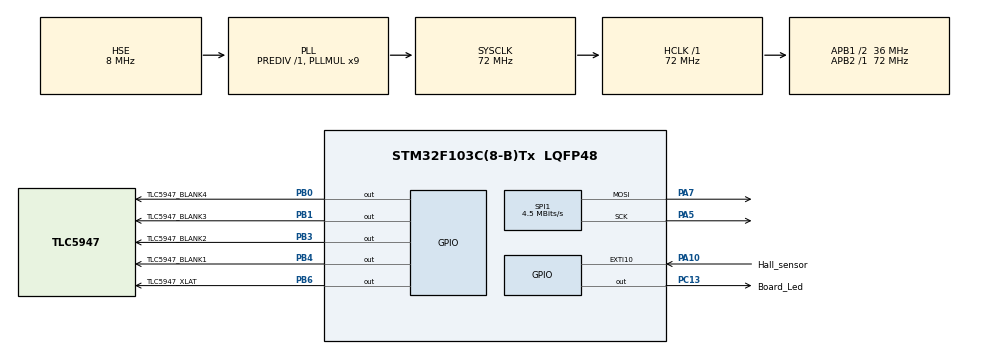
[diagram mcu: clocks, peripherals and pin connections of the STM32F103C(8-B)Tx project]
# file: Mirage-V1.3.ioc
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Mcu.Family=STM32F1
Mcu.Name=STM32F103C(8-B)Tx
Mcu.Package=LQFP48
NVIC.EXTI15_10_IRQn=true\:0\:0\:false\:false\:true\:true\:true
NVIC.PriorityGroup=NVIC_PRIORITYGROUP_4
NVIC.TIM4_IRQn=true\:0\:0\:false\:false\:true\:true\:true
PA10.GPIO_Label=Hall_sensor
PA10.Signal=GPXTI10
PA13.Mode=Serial_Wire
PA13.Signal=SYS_JTMS-SWDIO
PA14.Mode=Serial_Wire
PA14.Signal=SYS_JTCK-SWCLK
PA5.Mode=TX_Only_Simplex_Unidirect_Master
PA5.Signal=SPI1_SCK
PA7.Mode=TX_Only_Simplex_Unidirect_Master
PA7.Signal=SPI1_MOSI
PB0.GPIO_Label=TLC5947_BLANK4
PB0.Signal=GPIO_Output
PB1.GPIO_Label=TLC5947_BLANK3
PB1.Signal=GPIO_Output
PB3.GPIO_Label=TLC5947_BLANK2
PB3.Signal=GPIO_Output
PB4.GPIO_Label=TLC5947_BLANK1
PB4.Signal=GPIO_Output
PB6.GPIO_Label=TLC5947_XLAT
PB6.Signal=GPIO_Output
PC13-TAMPER-RTC.GPIO_Label=Board_Led
PC13-TAMPER-RTC.Signal=GPIO_Output
PC14-OSC32_IN.Mode=LSE-External-Oscillator
PC14-OSC32_IN.Signal=RCC_OSC32_IN
PC15-OSC32_OUT.Mode=LSE-External-Oscillator
PC15-OSC32_OUT.Signal=RCC_OSC32_OUT
PD0-OSC_IN.Mode=HSE-External-Oscillator
PD0-OSC_IN.Signal=RCC_OSC_IN
PD1-OSC_OUT.Mode=HSE-External-Oscillator
PD1-OSC_OUT.Signal=RCC_OSC_OUT
ProjectManager.HeapSize=0x200
ProjectManager.StackSize=0x400
ProjectManager.TargetToolchain=STM32CubeIDE
RCC.AHBFreq_Value=72000000
RCC.APB1CLKDivider=RCC_HCLK_DIV2
RCC.APB1Freq_Value=36000000
RCC.APB1TimFreq_Value=72000000
RCC.APB2Freq_Value=72000000
RCC.APB2TimFreq_Value=72000000
RCC.HCLKFreq_Value=72000000
RCC.PLLMUL=RCC_PLL_MUL9
RCC.PLLSourceVirtual=RCC_PLLSOURCE_HSE
RCC.SYSCLKFreq_VALUE=72000000
RCC.SYSCLKSource=RCC_SYSCLKSOURCE_PLLCLK
RCC.USBFreq_Value=72000000
SPI1.BaudRatePrescaler=SPI_BAUDRATEPRESCALER_16
SPI1.CalculateBaudRate=4.5 MBits/s
SPI1.Direction=SPI_DIRECTION_2LINES
SPI1.Mode=SPI_MODE_MASTER
SPI1.VirtualType=VM_MASTER
TIM4.AutoReloadPreload=TIM_AUTORELOAD_PRELOAD_ENABLE
TIM4.Period=1999
TIM4.Prescaler=35
VP_TIM4_VS_ClockSourceINT.Mode=Internal
board=custom

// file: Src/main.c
/* USER CODE BEGIN Header */
/**
  ******************************************************************************
  * @file           : main.c
  * @brief          : Main program body
  ******************************************************************************
  * @attention
  *
  * <h2><center>&copy; Copyright (c) 2022 STMicroelectronics.
  * All rights reserved.</center></h2>
  *
  * This software component is licensed by ST under BSD 3-Clause license,
  * the "License"; You may not use this file except in compliance with the
  * License. You may obtain a copy of the License at:
  *                        opensource.org/licenses/BSD-3-Clause
  *
  ******************************************************************************
  */
/* USER CODE END Header */

#include "main.h"

/* USER CODE BEGIN Includes */
#include "TLC5947.h"
#include "hall_sensor.h"
#include "stdlib.h" // for abs function

//#include "spi1.h"

/* USER CODE END Includes */

SPI_HandleTypeDef hspi1;

TIM_HandleTypeDef htim4;

/* USER CODE BEGIN PV */

uint8_t g_uartByte, g_UARTVal,g_TLCFlag = 0;//val received, val stored, Timer flag
uint8_t g_imain=0,g_MotorSync = FALSE;//g_MotorSync is used to indicate that the motor is working in nominal speed
uint16_t g_degreeCount =0,g_prevTime = 0 ,g_curTime = 0, g_tDelay = 0;

/* USER CODE END PV */

void SystemClock_Config(void);
static void MX_GPIO_Init(void);
static void MX_SPI1_Init(void);
static void MX_TIM4_Init(void);

int main(void)
{

  /* MCU Configuration--------------------------------------------------------*/

  /* Reset of all peripherals, Initializes the Flash interface and the Systick. */
  HAL_Init();

  /* Configure the system clock */
  SystemClock_Config();

  /* Initialize all configured peripherals */
  MX_GPIO_Init();
  MX_SPI1_Init();
  MX_TIM4_Init();
  /* USER CODE BEGIN 2 */
//  HAL_UART_Receive_IT(&huart3, &g_uartByte, 1);//this triggers only once,uses interrupt and it has to be re-enabled
//  FillArray(BLUE,FABITEST);//it will be red
  HAL_TIM_Base_Start_IT(&htim4);//Starts the TIM Base generation in interrupt mode. The oder mode just allows the count
//  HAL_TIM_Base_Start(&htim2);//Start the TIM just as a counter with no interrupts

  HAL_GPIO_WritePin(TLC5947_BLANK1_GPIO_Port, TLC5947_BLANK1_Pin, GPIO_PIN_SET);//Turn off leds
  HAL_GPIO_WritePin(TLC5947_BLANK2_GPIO_Port, TLC5947_BLANK2_Pin, GPIO_PIN_SET);//Turn off leds
  HAL_GPIO_WritePin(TLC5947_BLANK3_GPIO_Port, TLC5947_BLANK3_Pin, GPIO_PIN_SET);//Turn off leds
  HAL_GPIO_WritePin(TLC5947_BLANK4_GPIO_Port, TLC5947_BLANK4_Pin, GPIO_PIN_SET);//Turn off leds

  HAL_GPIO_WritePin(Board_Led_GPIO_Port, Board_Led_Pin, GPIO_PIN_RESET);//Turn off board led

  /*/
   * Only use this 2 overwrites for Matitest
   */
  __HAL_TIM_SET_PRESCALER(&htim4,3599);//p.1040 - configure TIM4 so that it interrupts every 1/2"
  __HAL_TIM_SET_AUTORELOAD(&htim4,999);//

//  HAL_GPIO_WritePin(Board_Led_GPIO_Port,Board_Led_Pin,GPIO_PIN_RESET);//Turn off led

//  FillArray(BLUE,MATITEST);
//  	  __HAL_TIM_SET_PRESCALER(&htim4,35999);//p.1040 - configure TIM4 so that it interrupts every 1/2"

  /* USER CODE END 2 */

  /* Infinite loop */
  while (1)
  {

    /* USER CODE BEGIN 3 */
	  if(g_TLCFlag){//enter when TIM4 interrupts
		  g_TLCFlag = 0;//disable TLC Update

//	  if(g_imain > 2 ) //only enables RGB
//		  g_imain = 0;
//
//	  g_imain ++;

	 FillArray(g_imain,FABITEST);
//	  FillArray(BLUE,LINE);
//	  FillArray(BLUE,LETTERo);
//	  FillArray(BLUE,MATITEST);

//	  FillArray(BLUE,LETTERS);
//	  FillArray(BLUE,BMWLOGO);
//	  FillArray(BLUE,LETTERBIGo);
//	  FillArray(BLUE,BMWLOGOALT);

	  TLC_Update();//renew PWM
	  }

  }
  /* USER CODE END 3 */
}

void SystemClock_Config(void)
{
  RCC_OscInitTypeDef RCC_OscInitStruct = {0};
  RCC_ClkInitTypeDef RCC_ClkInitStruct = {0};

  /** Initializes the CPU, AHB and APB busses clocks
  */
  RCC_OscInitStruct.OscillatorType = RCC_OSCILLATORTYPE_HSE;
  RCC_OscInitStruct.HSEState = RCC_HSE_ON;
  RCC_OscInitStruct.HSEPredivValue = RCC_HSE_PREDIV_DIV1;
  RCC_OscInitStruct.HSIState = RCC_HSI_ON;
  RCC_OscInitStruct.PLL.PLLState = RCC_PLL_ON;
  RCC_OscInitStruct.PLL.PLLSource = RCC_PLLSOURCE_HSE;
  RCC_OscInitStruct.PLL.PLLMUL = RCC_PLL_MUL9;
  if (HAL_RCC_OscConfig(&RCC_OscInitStruct) != HAL_OK)
  {
    Error_Handler();
  }
  /** Initializes the CPU, AHB and APB busses clocks
  */
  RCC_ClkInitStruct.ClockType = RCC_CLOCKTYPE_HCLK|RCC_CLOCKTYPE_SYSCLK
                              |RCC_CLOCKTYPE_PCLK1|RCC_CLOCKTYPE_PCLK2;
  RCC_ClkInitStruct.SYSCLKSource = RCC_SYSCLKSOURCE_PLLCLK;
  RCC_ClkInitStruct.AHBCLKDivider = RCC_SYSCLK_DIV1;
  RCC_ClkInitStruct.APB1CLKDivider = RCC_HCLK_DIV2;
  RCC_ClkInitStruct.APB2CLKDivider = RCC_HCLK_DIV1;

  if (HAL_RCC_ClockConfig(&RCC_ClkInitStruct, FLASH_LATENCY_2) != HAL_OK)
  {
    Error_Handler();
  }
}

static void MX_SPI1_Init(void)
{

  /* SPI1 parameter configuration*/
  hspi1.Instance = SPI1;
  hspi1.Init.Mode = SPI_MODE_MASTER;
  hspi1.Init.Direction = SPI_DIRECTION_2LINES;
  hspi1.Init.DataSize = SPI_DATASIZE_8BIT;
  hspi1.Init.CLKPolarity = SPI_POLARITY_LOW;
  hspi1.Init.CLKPhase = SPI_PHASE_1EDGE;
  hspi1.Init.NSS = SPI_NSS_SOFT;
  hspi1.Init.BaudRatePrescaler = SPI_BAUDRATEPRESCALER_16;
  hspi1.Init.FirstBit = SPI_FIRSTBIT_MSB;
  hspi1.Init.TIMode = SPI_TIMODE_DISABLE;
  hspi1.Init.CRCCalculation = SPI_CRCCALCULATION_DISABLE;
  hspi1.Init.CRCPolynomial = 10;
  if (HAL_SPI_Init(&hspi1) != HAL_OK)
  {
    Error_Handler();
  }

}

static void MX_TIM4_Init(void)
{

  TIM_ClockConfigTypeDef sClockSourceConfig = {0};
  TIM_MasterConfigTypeDef sMasterConfig = {0};

  htim4.Instance = TIM4;
  htim4.Init.Prescaler = 35;
  htim4.Init.CounterMode = TIM_COUNTERMODE_UP;
  htim4.Init.Period = 1999;
  htim4.Init.ClockDivision = TIM_CLOCKDIVISION_DIV1;
  htim4.Init.AutoReloadPreload = TIM_AUTORELOAD_PRELOAD_ENABLE;
  if (HAL_TIM_Base_Init(&htim4) != HAL_OK)
  {
    Error_Handler();
  }
  sClockSourceConfig.ClockSource = TIM_CLOCKSOURCE_INTERNAL;
  if (HAL_TIM_ConfigClockSource(&htim4, &sClockSourceConfig) != HAL_OK)
  {
    Error_Handler();
  }
  sMasterConfig.MasterOutputTrigger = TIM_TRGO_RESET;
  sMasterConfig.MasterSlaveMode = TIM_MASTERSLAVEMODE_DISABLE;
  if (HAL_TIMEx_MasterConfigSynchronization(&htim4, &sMasterConfig) != HAL_OK)
  {
    Error_Handler();
  }

}

static void MX_GPIO_Init(void)
{
  GPIO_InitTypeDef GPIO_InitStruct = {0};

  /* GPIO Ports Clock Enable */
  __HAL_RCC_GPIOC_CLK_ENABLE();
  __HAL_RCC_GPIOD_CLK_ENABLE();
  __HAL_RCC_GPIOA_CLK_ENABLE();
  __HAL_RCC_GPIOB_CLK_ENABLE();

  /*Configure GPIO pin Output Level */
  HAL_GPIO_WritePin(Board_Led_GPIO_Port, Board_Led_Pin, GPIO_PIN_RESET);

  /*Configure GPIO pin Output Level */
  HAL_GPIO_WritePin(GPIOB, TLC5947_BLANK4_Pin|TLC5947_BLANK3_Pin|TLC5947_BLANK2_Pin|TLC5947_BLANK1_Pin
                          |TLC5947_XLAT_Pin, GPIO_PIN_RESET);

  /*Configure GPIO pin : Board_Led_Pin */
  GPIO_InitStruct.Pin = Board_Led_Pin;
  GPIO_InitStruct.Mode = GPIO_MODE_OUTPUT_PP;
  GPIO_InitStruct.Pull = GPIO_NOPULL;
  GPIO_InitStruct.Speed = GPIO_SPEED_FREQ_LOW;
  HAL_GPIO_Init(Board_Led_GPIO_Port, &GPIO_InitStruct);

  /*Configure GPIO pins : TLC5947_BLANK4_Pin TLC5947_BLANK3_Pin TLC5947_BLANK2_Pin TLC5947_BLANK1_Pin
                           TLC5947_XLAT_Pin */
  GPIO_InitStruct.Pin = TLC5947_BLANK4_Pin|TLC5947_BLANK3_Pin|TLC5947_BLANK2_Pin|TLC5947_BLANK1_Pin
                          |TLC5947_XLAT_Pin;
  GPIO_InitStruct.Mode = GPIO_MODE_OUTPUT_PP;
  GPIO_InitStruct.Pull = GPIO_NOPULL;
  GPIO_InitStruct.Speed = GPIO_SPEED_FREQ_LOW;
  HAL_GPIO_Init(GPIOB, &GPIO_InitStruct);

  /*Configure GPIO pin : Hall_sensor_Pin */
  GPIO_InitStruct.Pin = Hall_sensor_Pin;
  GPIO_InitStruct.Mode = GPIO_MODE_IT_RISING;
  GPIO_InitStruct.Pull = GPIO_NOPULL;
  HAL_GPIO_Init(Hall_sensor_GPIO_Port, &GPIO_InitStruct);

  /* EXTI interrupt init*/
  HAL_NVIC_SetPriority(EXTI15_10_IRQn, 0, 0);
  HAL_NVIC_EnableIRQ(EXTI15_10_IRQn);

}

/* USER CODE BEGIN 4 */

//void HAL_UART_RxCpltCallback(UART_HandleTypeDef *huart)
//{
//	if (huart->Instance == USART3) {
//	    // USART3
//	  HAL_UART_Transmit(&huart3, &g_uartByte, 1, 100);//echo the received msg to verify that all is good
//	  HAL_UART_Receive_IT(&huart3, &g_uartByte, 1);//re-enable the rx int
//	  HAL_UART_Transmit(&huart3, (uint8_t *)"BP\r\n", 4U, 100);//so as to know it comes from the BP
//	  HAL_UART_Receive_IT(&huart3, &g_uartByte, 1);//re-enable the rx int
//
//	  if(g_uartByte > 47 && g_uartByte <55)
//		  g_UARTVal=g_uartByte;//the values that are relevant are stored
//	}
//
//
//}

void HAL_TIM_PeriodElapsedCallback(TIM_HandleTypeDef *htim)
{

	if(htim->Instance== TIM4)
	{

			g_TLCFlag = 1;//enable TLC Update
			g_degreeCount++;

			if (g_degreeCount>359)//prevents g_LedsMatrix from overflowing
				g_degreeCount = 0;

	}

}

void HAL_GPIO_EXTI_Callback(uint16_t GPIO_Pin)
{

 static vueltas = 0; //stores timertick, LoopCounter is used to count 'x' amount of loops to allow the motor to stabilize

  if(GPIO_Pin == Hall_sensor_Pin) // hall sensor's pin
  {
	  HAL_GPIO_TogglePin(Board_Led_GPIO_Port, Board_Led_Pin);//Switch on/off board pin
	  if(vueltas==Nvueltas-1)
	  {
		  g_prevTime = g_curTime;
		  /*
		   * 1 way of acquiring period of each turn
		   */
		  g_curTime = HAL_GetTick(); //Provides a tick value in millisecond
		  g_tDelay = abs(g_curTime - g_prevTime);//abs guarantees that there is no issues related to the sign
  		  __HAL_TIM_SET_AUTORELOAD(&htim4,g_tDelay*200/(Nvueltas*35));//1"*180°*time1°. For the time being this will only be done once - p.1040
  		vueltas = 0;

	  }
	  else
		  vueltas++;

//	  g_degreeCount = 0;//indicates that a full spin has been made and thus degree count is reset to 0°

	  if(g_imain > 2 ) //only enables RGB
		  g_imain = 0;

	  g_imain ++;

  }

}

void TLC_Write(uint8_t data[])
//void TLC_Write(uint8_t *data)
{
	HAL_SPI_Transmit(&hspi1,data, SPI_BYTE_AMOUNT,1000); // envio via el sp1 de 1 todos los bytes que tenga que mandar
//    while(HAL_SPI_GetState(&hspi1) != HAL_SPI_STATE_READY); // espero a que termine la transferencia
}
/* USER CODE END 4 */

void Error_Handler(void)
{
}

/************************ (C) COPYRIGHT STMicroelectronics *****END OF FILE****/
